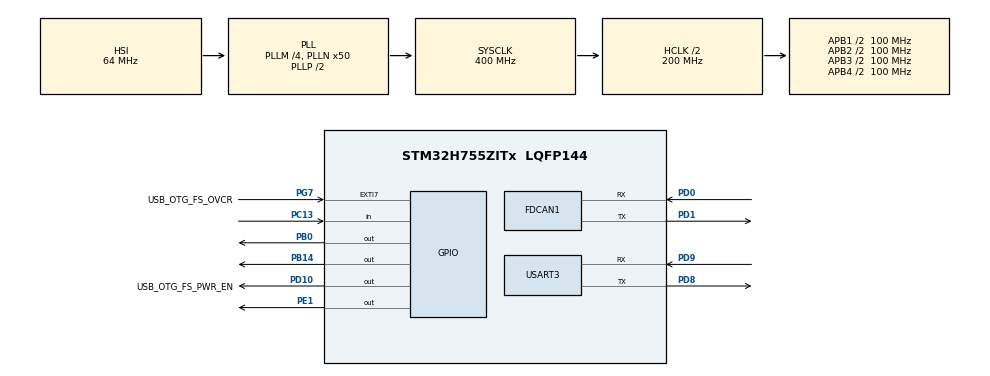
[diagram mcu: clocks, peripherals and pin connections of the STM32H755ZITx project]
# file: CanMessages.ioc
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CortexM4.IPs=FATFS_M4\:I,FREERTOS_M4\:I,IWDG2\:I,RCC,WWDG2\:I,DMA,BDMA,MDMA,NVIC2\:I,ETH,USART3,DEBUG,PDM2PCM_M4\:I,PWR,RESMGR_UTILITY,SYS_M4\:I,USB_DEVICE_M4\:I,USB_HOST_M4\:I,CORTEX_M4\:I,GPIO,OPENAMP_M4\:I,VREFBUF,NUCLEO-H755ZI-Q
CortexM7.IPs=FATFS_M7\:I,FREERTOS_M7\:I,IWDG1\:I,RCC\:I,WWDG1\:I,DMA\:I,BDMA\:I,MDMA\:I,NVIC1\:I,ETH\:I,USART3\:I,USB_OTG_FS\:I,SYS\:I,CORTEX_M7\:I,DEBUG\:I,PDM2PCM_M7\:I,PWR\:I,RESMGR_UTILITY\:I,USB_DEVICE_M7\:I,USB_HOST_M7\:I,GPIO\:I,OPENAMP_M7\:I,VREFBUF\:I,NUCLEO-H755ZI-Q\:I,MEMORYMAP\:I,FDCAN1\:I
FDCAN1.CalculateBaudRateNominal=500000
FDCAN1.CalculateTimeBitNominal=2000
FDCAN1.CalculateTimeQuantumNominal=400.0
FDCAN1.NominalPrescaler=40
FDCAN1.NominalTimeSeg1=3
FDCAN1.ProtocolException=ENABLE
FDCAN1.RxBuffersNbr=8
FDCAN1.RxFifo0ElmtsNbr=8
FDCAN1.RxFifo1ElmtsNbr=8
FDCAN1.TxFifoQueueElmtsNbr=8
FDCAN1.TxFifoQueueMode=FDCAN_TX_FIFO_OPERATION
Mcu.Family=STM32H7
Mcu.Name=STM32H755ZITx
Mcu.Package=LQFP144
NVIC1.FDCAN1_IT0_IRQn=true\:0\:0\:false\:false\:true\:true\:true\:true
NVIC1.PriorityGroup=NVIC_PRIORITYGROUP_4
NVIC2.PriorityGroup=NVIC_PRIORITYGROUP_4
PA1.PinAttribute=CortexM7
PA1.Signal=ETH_REF_CLK
PA11.PinAttribute=CortexM7
PA11.Signal=USB_OTG_FS_DM
PA12.PinAttribute=CortexM7
PA12.Signal=USB_OTG_FS_DP
PA2.PinAttribute=CortexM7
PA2.Signal=ETH_MDIO
PA7.PinAttribute=CortexM7
PA7.Signal=ETH_CRS_DV
PA8.PinAttribute=CortexM7
PA8.Signal=USB_OTG_FS_SOF
PA9.PinAttribute=CortexM7
PA9.Signal=USB_OTG_FS_VBUS
PB0.PinAttribute=Free
PB0.Signal=GPIO_Output
PB13.PinAttribute=CortexM7
PB13.Signal=ETH_TXD1
PB14.PinAttribute=Free
PB14.Signal=GPIO_Output
PC1.PinAttribute=CortexM7
PC1.Signal=ETH_MDC
PC13.PinAttribute=Free
PC13.Signal=GPIO_Input
PC14-OSC32_IN\ (OSC32_IN).PinAttribute=Free
PC14-OSC32_IN\ (OSC32_IN).Signal=RCC_OSC32_IN
PC15-OSC32_OUT\ (OSC32_OUT).PinAttribute=Free
PC15-OSC32_OUT\ (OSC32_OUT).Signal=RCC_OSC32_OUT
PC4.PinAttribute=CortexM7
PC4.Signal=ETH_RXD0
PC5.PinAttribute=CortexM7
PC5.Signal=ETH_RXD1
PD0.Mode=FDCAN_Activate
PD0.PinAttribute=CortexM7
PD0.Signal=FDCAN1_RX
PD1.Mode=FDCAN_Activate
PD1.PinAttribute=CortexM7
PD1.Signal=FDCAN1_TX
PD10.GPIO_Label=USB_OTG_FS_PWR_EN
PD10.PinAttribute=Free
PD10.Signal=GPIO_Output
PD8.Mode=Asynchronous
PD8.PinAttribute=CortexM7
PD8.Signal=USART3_TX
PD9.Mode=Asynchronous
PD9.PinAttribute=CortexM7
PD9.Signal=USART3_RX
PE1.PinAttribute=Free
PE1.Signal=GPIO_Output
PG11.PinAttribute=CortexM7
PG11.Signal=ETH_TX_EN
PG13.PinAttribute=CortexM7
PG13.Signal=ETH_TXD0
PG7.GPIO_Label=USB_OTG_FS_OVCR
PG7.PinAttribute=Free
PG7.Signal=GPXTI7
PH0-OSC_IN\ (PH0).PinAttribute=Free
PH0-OSC_IN\ (PH0).Signal=RCC_OSC_IN
PH1-OSC_OUT\ (PH1).PinAttribute=Free
PH1-OSC_OUT\ (PH1).Signal=RCC_OSC_OUT
ProjectManager.HeapSize=M4-0x200,M7-0x200
ProjectManager.StackSize=M4-0x400,M7-0x400
ProjectManager.TargetToolchain=STM32CubeIDE
RCC.ADCFreq_Value=129000000
RCC.APB1Freq_Value=100000000
RCC.APB2Freq_Value=100000000
RCC.APB3Freq_Value=100000000
RCC.APB4Freq_Value=100000000
RCC.CortexFreq_Value=400000000
RCC.D1PPRE=RCC_APB3_DIV2
RCC.D2PPRE1=RCC_APB1_DIV2
RCC.D2PPRE2=RCC_APB2_DIV2
RCC.D3PPRE=RCC_APB4_DIV2
RCC.DIVM1=4
RCC.DIVN1=50
RCC.DIVQ1=8
RCC.HCLKFreq_Value=200000000
RCC.HPRE=RCC_HCLK_DIV2
RCC.PLL2FRACN=0
RCC.PLL3FRACN=0
RCC.PLLFRACN=0
RCC.SYSCLKFreq_VALUE=400000000
RCC.SYSCLKSource=RCC_SYSCLKSOURCE_PLLCLK
RCC.SupplySource=PWR_DIRECT_SMPS_SUPPLY
RCC.USBFreq_Value=100000000
USART3.VirtualMode-Asynchronous=VM_ASYNC
VP_MEMORYMAP_VS_MEMORYMAP.Mode=CurAppReg
VP_SYS_M4_VS_Systick.Mode=SysTick
board=NUCLEO-H755ZI-Q

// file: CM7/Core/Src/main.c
/* USER CODE BEGIN Header */
/**
  ******************************************************************************
  * @file           : main.c
  * @brief          : Main program body
  ******************************************************************************
  * @attention
  *
  * Copyright (c) 2025 STMicroelectronics.
  * All rights reserved.
  *
  * This software is licensed under terms that can be found in the LICENSE file
  * in the root directory of this software component.
  * If no LICENSE file comes with this software, it is provided AS-IS.
  *
  ******************************************************************************
  */
/* USER CODE END Header */
#include "main.h"

/* USER CODE BEGIN Includes */
#include "myprintf.h"
/* USER CODE END Includes */

/* USER CODE BEGIN PD */

/* DUAL_CORE_BOOT_SYNC_SEQUENCE: Define for dual core boot synchronization    */
/*                             demonstration code based on hardware semaphore */
/* This define is present in both CM7/CM4 projects                            */
/* To comment when developping/debugging on a single core                     */
#define DUAL_CORE_BOOT_SYNC_SEQUENCE

#if defined(DUAL_CORE_BOOT_SYNC_SEQUENCE)
#ifndef HSEM_ID_0
#define HSEM_ID_0 (0U) /* HW semaphore 0*/
#endif
#endif /* DUAL_CORE_BOOT_SYNC_SEQUENCE */

/* USER CODE END PD */

FDCAN_HandleTypeDef hfdcan1;

UART_HandleTypeDef huart3;

/* USER CODE BEGIN PV */
FDCAN_FilterTypeDef sFilterConfig;
FDCAN_TxHeaderTypeDef TxHeader;
uint8_t TxData[8] = {0xFF,0xFF,0xFF,0xFF,0xFF,0xFF,0xFF,0xFF};

/* USER CODE END PV */

void SystemClock_Config(void);
static void MX_GPIO_Init(void);
static void MX_FDCAN1_Init(void);
static void MX_USART3_UART_Init(void);

/* USER CODE BEGIN 0 */
void HAL_FDCAN_RxFifo0Callback(FDCAN_HandleTypeDef *hfdcan, uint32_t RxFifo0ITs)
{
    if (RxFifo0ITs & FDCAN_IT_RX_FIFO0_NEW_MESSAGE)
    {
        FDCAN_RxHeaderTypeDef RxHeader;
        uint8_t RxData[8];

        HAL_FDCAN_GetRxMessage(hfdcan, FDCAN_RX_FIFO0, &RxHeader, RxData);
        printf("CAN ID: %lx  \n\r", RxHeader.Identifier);
        for (int i = 0; i < 8; i++) {
            printf("%u ", RxData[i]);
        }
        printf("\n\r");
    }
}
/* USER CODE END 0 */

int main(void)
{

/* USER CODE BEGIN Boot_Mode_Sequence_0 */
#if defined(DUAL_CORE_BOOT_SYNC_SEQUENCE)
  int32_t timeout;
#endif /* DUAL_CORE_BOOT_SYNC_SEQUENCE */
/* USER CODE END Boot_Mode_Sequence_0 */

/* USER CODE BEGIN Boot_Mode_Sequence_1 */
#if defined(DUAL_CORE_BOOT_SYNC_SEQUENCE)
  /* Wait until CPU2 boots and enters in stop mode or timeout*/
  timeout = 0xFFFF;
  while((__HAL_RCC_GET_FLAG(RCC_FLAG_D2CKRDY) != RESET) && (timeout-- > 0));
  if ( timeout < 0 )
  {
  Error_Handler();
  }
#endif /* DUAL_CORE_BOOT_SYNC_SEQUENCE */
/* USER CODE END Boot_Mode_Sequence_1 */
  /* MCU Configuration--------------------------------------------------------*/

  /* Reset of all peripherals, Initializes the Flash interface and the Systick. */
  HAL_Init();

  /* Configure the system clock */
  SystemClock_Config();
/* USER CODE BEGIN Boot_Mode_Sequence_2 */
#if defined(DUAL_CORE_BOOT_SYNC_SEQUENCE)
/* When system initialization is finished, Cortex-M7 will release Cortex-M4 by means of
HSEM notification */
/*HW semaphore Clock enable*/
__HAL_RCC_HSEM_CLK_ENABLE();
/*Take HSEM */
HAL_HSEM_FastTake(HSEM_ID_0);
/*Release HSEM in order to notify the CPU2(CM4)*/
HAL_HSEM_Release(HSEM_ID_0,0);
/* wait until CPU2 wakes up from stop mode */
timeout = 0xFFFF;
while((__HAL_RCC_GET_FLAG(RCC_FLAG_D2CKRDY) == RESET) && (timeout-- > 0));
if ( timeout < 0 )
{
Error_Handler();
}
#endif /* DUAL_CORE_BOOT_SYNC_SEQUENCE */
/* USER CODE END Boot_Mode_Sequence_2 */

  /* Initialize all configured peripherals */
  MX_GPIO_Init();
  MX_FDCAN1_Init();
  MX_USART3_UART_Init();
  /* USER CODE BEGIN 2 */
  printf("Welcome to the CANbus!!!\n\r");
  /* USER CODE END 2 */

  /* Infinite loop */
  while (1)
  {

    /* USER CODE BEGIN 3 */

	  if (HAL_FDCAN_AddMessageToTxFifoQ(&hfdcan1, &TxHeader, TxData) != HAL_OK)
	     {
	         printf("Error sending msg \n\r");
	     }
	  HAL_Delay(3000);
  }
  /* USER CODE END 3 */
}

void SystemClock_Config(void)
{
  RCC_OscInitTypeDef RCC_OscInitStruct = {0};
  RCC_ClkInitTypeDef RCC_ClkInitStruct = {0};

  /** Supply configuration update enable
  */
  HAL_PWREx_ConfigSupply(PWR_DIRECT_SMPS_SUPPLY);

  /** Configure the main internal regulator output voltage
  */
  __HAL_PWR_VOLTAGESCALING_CONFIG(PWR_REGULATOR_VOLTAGE_SCALE1);

  while(!__HAL_PWR_GET_FLAG(PWR_FLAG_VOSRDY)) {}

  /** Initializes the RCC Oscillators according to the specified parameters
  * in the RCC_OscInitTypeDef structure.
  */
  RCC_OscInitStruct.OscillatorType = RCC_OSCILLATORTYPE_HSI;
  RCC_OscInitStruct.HSIState = RCC_HSI_DIV1;
  RCC_OscInitStruct.HSICalibrationValue = RCC_HSICALIBRATION_DEFAULT;
  RCC_OscInitStruct.PLL.PLLState = RCC_PLL_ON;
  RCC_OscInitStruct.PLL.PLLSource = RCC_PLLSOURCE_HSI;
  RCC_OscInitStruct.PLL.PLLM = 4;
  RCC_OscInitStruct.PLL.PLLN = 50;
  RCC_OscInitStruct.PLL.PLLP = 2;
  RCC_OscInitStruct.PLL.PLLQ = 8;
  RCC_OscInitStruct.PLL.PLLR = 2;
  RCC_OscInitStruct.PLL.PLLRGE = RCC_PLL1VCIRANGE_3;
  RCC_OscInitStruct.PLL.PLLVCOSEL = RCC_PLL1VCOWIDE;
  RCC_OscInitStruct.PLL.PLLFRACN = 0;
  if (HAL_RCC_OscConfig(&RCC_OscInitStruct) != HAL_OK)
  {
    Error_Handler();
  }

  /** Initializes the CPU, AHB and APB buses clocks
  */
  RCC_ClkInitStruct.ClockType = RCC_CLOCKTYPE_HCLK|RCC_CLOCKTYPE_SYSCLK
                              |RCC_CLOCKTYPE_PCLK1|RCC_CLOCKTYPE_PCLK2
                              |RCC_CLOCKTYPE_D3PCLK1|RCC_CLOCKTYPE_D1PCLK1;
  RCC_ClkInitStruct.SYSCLKSource = RCC_SYSCLKSOURCE_PLLCLK;
  RCC_ClkInitStruct.SYSCLKDivider = RCC_SYSCLK_DIV1;
  RCC_ClkInitStruct.AHBCLKDivider = RCC_HCLK_DIV2;
  RCC_ClkInitStruct.APB3CLKDivider = RCC_APB3_DIV2;
  RCC_ClkInitStruct.APB1CLKDivider = RCC_APB1_DIV2;
  RCC_ClkInitStruct.APB2CLKDivider = RCC_APB2_DIV2;
  RCC_ClkInitStruct.APB4CLKDivider = RCC_APB4_DIV2;

  if (HAL_RCC_ClockConfig(&RCC_ClkInitStruct, FLASH_LATENCY_2) != HAL_OK)
  {
    Error_Handler();
  }
}

static void MX_FDCAN1_Init(void)
{

  hfdcan1.Instance = FDCAN1;
  hfdcan1.Init.FrameFormat = FDCAN_FRAME_CLASSIC;
  hfdcan1.Init.Mode = FDCAN_MODE_NORMAL;
  hfdcan1.Init.AutoRetransmission = DISABLE;
  hfdcan1.Init.TransmitPause = DISABLE;
  hfdcan1.Init.ProtocolException = ENABLE;
  hfdcan1.Init.NominalPrescaler = 40;
  hfdcan1.Init.NominalSyncJumpWidth = 1;
  hfdcan1.Init.NominalTimeSeg1 = 3;
  hfdcan1.Init.NominalTimeSeg2 = 1;
  hfdcan1.Init.DataPrescaler = 1;
  hfdcan1.Init.DataSyncJumpWidth = 1;
  hfdcan1.Init.DataTimeSeg1 = 1;
  hfdcan1.Init.DataTimeSeg2 = 1;
  hfdcan1.Init.MessageRAMOffset = 0;
  hfdcan1.Init.StdFiltersNbr = 0;
  hfdcan1.Init.ExtFiltersNbr = 0;
  hfdcan1.Init.RxFifo0ElmtsNbr = 8;
  hfdcan1.Init.RxFifo0ElmtSize = FDCAN_DATA_BYTES_8;
  hfdcan1.Init.RxFifo1ElmtsNbr = 8;
  hfdcan1.Init.RxFifo1ElmtSize = FDCAN_DATA_BYTES_8;
  hfdcan1.Init.RxBuffersNbr = 8;
  hfdcan1.Init.RxBufferSize = FDCAN_DATA_BYTES_8;
  hfdcan1.Init.TxEventsNbr = 0;
  hfdcan1.Init.TxBuffersNbr = 0;
  hfdcan1.Init.TxFifoQueueElmtsNbr = 8;
  hfdcan1.Init.TxFifoQueueMode = FDCAN_TX_FIFO_OPERATION;
  hfdcan1.Init.TxElmtSize = FDCAN_DATA_BYTES_8;
  if (HAL_FDCAN_Init(&hfdcan1) != HAL_OK)
  {
    Error_Handler();
  }
  /* USER CODE BEGIN FDCAN1_Init 2 */
  /*AAO+*/
    /* Configure Rx filter */
  sFilterConfig.IdType = FDCAN_STANDARD_ID;
  sFilterConfig.FilterIndex = 0;
  sFilterConfig.FilterType = FDCAN_FILTER_RANGE;
  sFilterConfig.FilterConfig = FDCAN_FILTER_TO_RXFIFO0;
  sFilterConfig.FilterID1 = 0x000;
  sFilterConfig.FilterID2 = 0x7FF;

     /* Configure global filter to reject all non-matching frames */
//     HAL_FDCAN_ConfigGlobalFilter(&hfdcan1, FDCAN_REJECT, FDCAN_REJECT, FDCAN_REJECT_REMOTE, FDCAN_REJECT_REMOTE);

     if (HAL_FDCAN_ConfigFilter(&hfdcan1, &sFilterConfig) != HAL_OK)
       {
          /* Filter configuration Error */
          Error_Handler();
       }
      /* Start the FDCAN module */
     if (HAL_FDCAN_Start(&hfdcan1) != HAL_OK) {
       }
          /* Start Error */
     if (HAL_FDCAN_ActivateNotification(&hfdcan1, FDCAN_IT_RX_FIFO0_NEW_MESSAGE, 0) != HAL_OK) {
       }
          /* Notification Error */

      /* Configure Tx buffer message */
     TxHeader.Identifier = 0x123;
     TxHeader.IdType = FDCAN_STANDARD_ID;
     TxHeader.TxFrameType = FDCAN_DATA_FRAME;
     TxHeader.DataLength = FDCAN_DLC_BYTES_8;
     TxHeader.ErrorStateIndicator = FDCAN_ESI_ACTIVE;
     TxHeader.BitRateSwitch = FDCAN_BRS_OFF;
     TxHeader.FDFormat = FDCAN_CLASSIC_CAN;
     TxHeader.TxEventFifoControl = FDCAN_NO_TX_EVENTS;
     TxHeader.MessageMarker = 0;

    /*AAO-*/

  /* USER CODE END FDCAN1_Init 2 */

}

static void MX_USART3_UART_Init(void)
{

  huart3.Instance = USART3;
  huart3.Init.BaudRate = 115200;
  huart3.Init.WordLength = UART_WORDLENGTH_8B;
  huart3.Init.StopBits = UART_STOPBITS_1;
  huart3.Init.Parity = UART_PARITY_NONE;
  huart3.Init.Mode = UART_MODE_TX_RX;
  huart3.Init.HwFlowCtl = UART_HWCONTROL_NONE;
  huart3.Init.OverSampling = UART_OVERSAMPLING_16;
  huart3.Init.OneBitSampling = UART_ONE_BIT_SAMPLE_DISABLE;
  huart3.Init.ClockPrescaler = UART_PRESCALER_DIV1;
  huart3.AdvancedInit.AdvFeatureInit = UART_ADVFEATURE_NO_INIT;
  if (HAL_UART_Init(&huart3) != HAL_OK)
  {
    Error_Handler();
  }
  if (HAL_UARTEx_SetTxFifoThreshold(&huart3, UART_TXFIFO_THRESHOLD_1_8) != HAL_OK)
  {
    Error_Handler();
  }
  if (HAL_UARTEx_SetRxFifoThreshold(&huart3, UART_RXFIFO_THRESHOLD_1_8) != HAL_OK)
  {
    Error_Handler();
  }
  if (HAL_UARTEx_DisableFifoMode(&huart3) != HAL_OK)
  {
    Error_Handler();
  }

}

static void MX_GPIO_Init(void)
{
  GPIO_InitTypeDef GPIO_InitStruct = {0};

  /* GPIO Ports Clock Enable */
  __HAL_RCC_GPIOC_CLK_ENABLE();
  __HAL_RCC_GPIOA_CLK_ENABLE();
  __HAL_RCC_GPIOB_CLK_ENABLE();
  __HAL_RCC_GPIOD_CLK_ENABLE();
  __HAL_RCC_GPIOG_CLK_ENABLE();

  /*Configure GPIO pins : PC1 PC4 PC5 */
  GPIO_InitStruct.Pin = GPIO_PIN_1|GPIO_PIN_4|GPIO_PIN_5;
  GPIO_InitStruct.Mode = GPIO_MODE_AF_PP;
  GPIO_InitStruct.Pull = GPIO_NOPULL;
  GPIO_InitStruct.Speed = GPIO_SPEED_FREQ_LOW;
  GPIO_InitStruct.Alternate = GPIO_AF11_ETH;
  HAL_GPIO_Init(GPIOC, &GPIO_InitStruct);

  /*Configure GPIO pins : PA1 PA2 PA7 */
  GPIO_InitStruct.Pin = GPIO_PIN_1|GPIO_PIN_2|GPIO_PIN_7;
  GPIO_InitStruct.Mode = GPIO_MODE_AF_PP;
  GPIO_InitStruct.Pull = GPIO_NOPULL;
  GPIO_InitStruct.Speed = GPIO_SPEED_FREQ_LOW;
  GPIO_InitStruct.Alternate = GPIO_AF11_ETH;
  HAL_GPIO_Init(GPIOA, &GPIO_InitStruct);

  /*Configure GPIO pin : PB13 */
  GPIO_InitStruct.Pin = GPIO_PIN_13;
  GPIO_InitStruct.Mode = GPIO_MODE_AF_PP;
  GPIO_InitStruct.Pull = GPIO_NOPULL;
  GPIO_InitStruct.Speed = GPIO_SPEED_FREQ_LOW;
  GPIO_InitStruct.Alternate = GPIO_AF11_ETH;
  HAL_GPIO_Init(GPIOB, &GPIO_InitStruct);

  /*Configure GPIO pins : PA8 PA11 PA12 */
  GPIO_InitStruct.Pin = GPIO_PIN_8|GPIO_PIN_11|GPIO_PIN_12;
  GPIO_InitStruct.Mode = GPIO_MODE_AF_PP;
  GPIO_InitStruct.Pull = GPIO_NOPULL;
  GPIO_InitStruct.Speed = GPIO_SPEED_FREQ_LOW;
  GPIO_InitStruct.Alternate = GPIO_AF10_OTG1_FS;
  HAL_GPIO_Init(GPIOA, &GPIO_InitStruct);

  /*Configure GPIO pins : PG11 PG13 */
  GPIO_InitStruct.Pin = GPIO_PIN_11|GPIO_PIN_13;
  GPIO_InitStruct.Mode = GPIO_MODE_AF_PP;
  GPIO_InitStruct.Pull = GPIO_NOPULL;
  GPIO_InitStruct.Speed = GPIO_SPEED_FREQ_LOW;
  GPIO_InitStruct.Alternate = GPIO_AF11_ETH;
  HAL_GPIO_Init(GPIOG, &GPIO_InitStruct);

}

void Error_Handler(void)
{
  __disable_irq();
  while (1)
  {
  }
}
